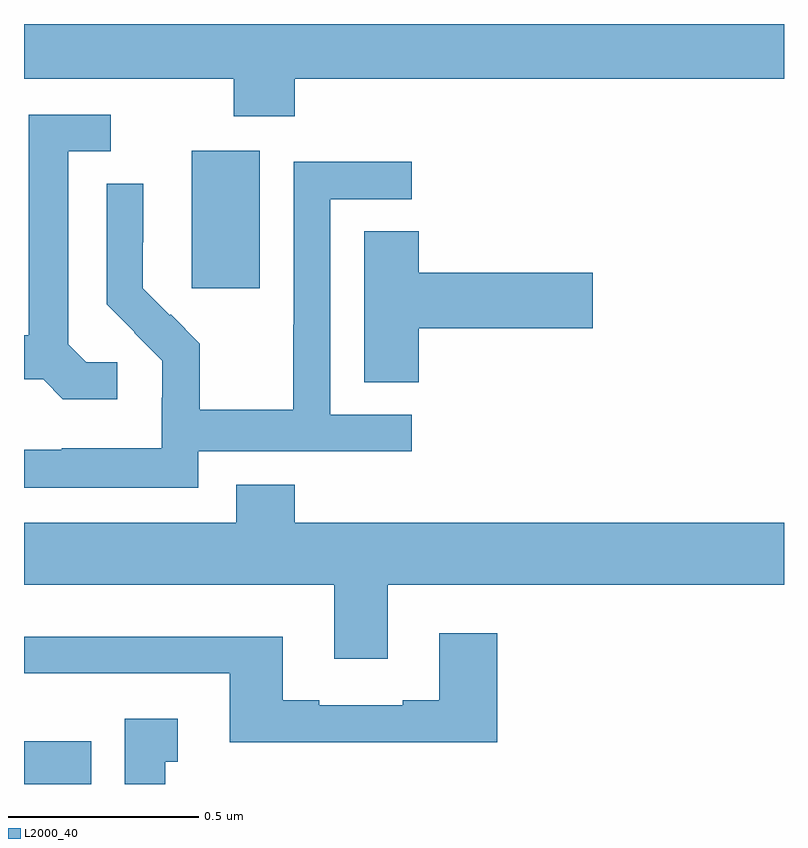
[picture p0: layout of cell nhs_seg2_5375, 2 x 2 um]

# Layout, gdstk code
import gdstk
lib = gdstk.Library(unit=1e-6, precision=1e-09)
def R(c, l, rs):  # rectangles x0, y0, x1, y1
    for r in rs: c.add(gdstk.rectangle(r[:2], r[2:], *l))
def P(c, l, *ps):  # polygons
    for p in ps: c.add(gdstk.Polygon(p, *l))
L2000_40 = (2000, 40)

nhs_seg2_5375 = lib.new_cell('nhs_seg2_5375')
R(nhs_seg2_5375, L2000_40, [(178,625.8,178.177,625.912), (178.442,627.105,178.621,627.466)])
P(nhs_seg2_5375, L2000_40, [(178.712,627.656),(180,627.656),(180,627.8),(178,627.8),(178,627.656),(178.552,627.656),(178.552,627.557),(178.712,627.557)],
  [(178.246,626.91),(178.164,626.91),(178.117,626.957),(178.117,627.465),(178.228,627.465),(178.228,627.561),(178.013,627.561),(178.013,626.981),(178,626.981),(178,626.865),(178.05,626.865),(178.102,626.813),(178.246,626.813)],
  [(178.458,626.676),(179.02,626.676),(179.02,626.772),(178.806,626.772),(178.806,627.339),(179.02,627.339),(179.02,627.438),(178.71,627.438),(178.71,627.008),(178.708,627.008),(178.708,626.785),(178.463,626.785),(178.463,626.959),(178.386,627.036),(178.383,627.033),(178.313,627.104),(178.313,627.226),(178.314,627.226),(178.314,627.38),(178.218,627.38),(178.218,627.062),(178.291,626.989),(178.29,626.988),(178.364,626.914),(178.364,626.817),(178.362,626.817),(178.362,626.683),(178.099,626.683),(178.099,626.679),(178,626.679),(178,626.579),(178.458,626.579)],
  [(179.039,626.999),(179.497,626.999),(179.497,627.146),(179.039,627.146),(179.039,627.254),(178.895,627.254),(178.895,626.857),(179.039,626.857)],
  [(178.957,626.324),(180,626.324),(180,626.488),(178.712,626.488),(178.712,626.587),(178.559,626.587),(178.559,626.488),(178,626.488),(178,626.324),(178.817,626.324),(178.817,626.13),(178.957,626.13)],
  [(179.246,626.197),(179.093,626.197),(179.093,626.02),(178.997,626.02),(178.997,626.007),(178.777,626.007),(178.777,626.02),(178.681,626.02),(178.681,626.188),(178,626.188),(178,626.091),(178.541,626.091),(178.541,625.91),(179.246,625.91)],
  [(178.372,625.859),(178.405,625.859),(178.405,625.972),(178.265,625.972),(178.265,625.8),(178.372,625.8)])

lib.write_gds('nhs_seg2_5375.gds')
